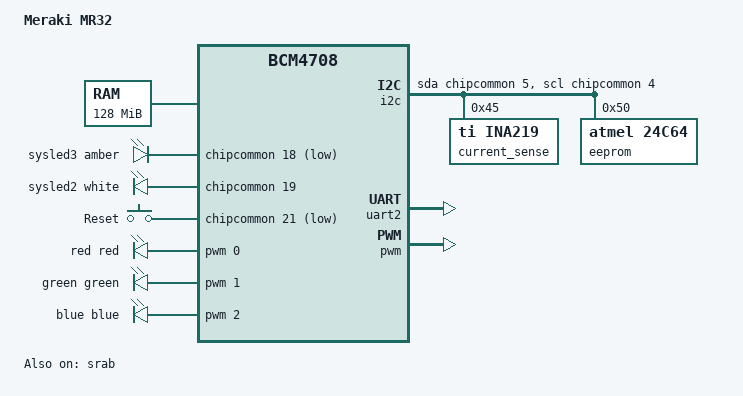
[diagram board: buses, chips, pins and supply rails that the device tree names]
// SPDX-License-Identifier: GPL-2.0-or-later OR MIT
/*
 * Broadcom BCM470X / BCM5301X ARM platform code.
 * DTS for Meraki MR32 / Codename: Espresso
 *
 * Copyright (C) 2018-2020 Christian Lamparter <chunkeey@gmail.com>
 */

/dts-v1/;

#include "bcm4708.dtsi"
#include "bcm5301x-nand-cs0-bch8.dtsi"
#include <dt-bindings/leds/common.h>

/ {
	compatible = "meraki,mr32", "brcm,brcm53016", "brcm,bcm4708";
	model = "Meraki MR32";

	chosen {
		bootargs = " console=ttyS0,115200n8 earlycon";
	};

	memory@0 {
		reg = <0x00000000 0x08000000>;
		device_type = "memory";
	};

	aliases {
		serial1 = &uart2;
	};

	leds {
		compatible = "gpio-leds";

		sysled3 {
			function = LED_FUNCTION_FAULT;
			color = <LED_COLOR_ID_AMBER>;
			gpios = <&chipcommon 18 GPIO_ACTIVE_LOW>;
			panic-indicator;
		};
		sysled2 {
			function = LED_FUNCTION_INDICATOR;
			color = <LED_COLOR_ID_WHITE>;
			gpios = <&chipcommon 19 GPIO_ACTIVE_HIGH>;
		};
	};

	keys {
		compatible = "gpio-keys";
		#address-cells = <1>;
		#size-cells = <0>;

		restart {
			label = "Reset";
			linux,code = <KEY_RESTART>;
			gpios = <&chipcommon 21 GPIO_ACTIVE_LOW>;
		};
	};

	pwm-leds {
		compatible = "pwm-leds";

		red {
			/* SYS-LED 1 - Tricolor */
			function = LED_FUNCTION_INDICATOR;
			color = <LED_COLOR_ID_RED>;
			pwms = <&pwm 0 50000 0>;
			max-brightness = <255>;
		};

		green {
			/* SYS-LED 1 - Tricolor */
			function = LED_FUNCTION_POWER;
			color = <LED_COLOR_ID_GREEN>;
			pwms = <&pwm 1 50000 0>;
			max-brightness = <255>;
		};

		blue {
			/* SYS-LED 1 - Tricolor */
			function = LED_FUNCTION_INDICATOR;
			color = <LED_COLOR_ID_BLUE>;
			pwms = <&pwm 2 50000 0>;
			max-brightness = <255>;
		};
	};

	i2c {
		/*
		 * The platform provided I2C does not budge.
		 * This is a replacement until I can figure
		 * out what are the missing bits...
		 */

		compatible = "i2c-gpio";
		sda-gpios = <&chipcommon 5 GPIO_ACTIVE_HIGH>;
		scl-gpios = <&chipcommon 4 GPIO_ACTIVE_HIGH>;
		i2c-gpio,delay-us = <10>; /* close to 100 kHz */
		#address-cells = <1>;
		#size-cells = <0>;

		current_sense: ina219@45 {
			compatible = "ti,ina219";
			reg = <0x45>;
			shunt-resistor = <60000>; /* = 60 mOhms */
		};

		eeprom: eeprom@50 {
			compatible = "atmel,24c64";
			reg = <0x50>;
			pagesize = <32>;
			read-only;
		};
	};
};

&uart0 {
	clock-frequency = <62500000>;
	/delete-property/ clocks;
};

&uart1 {
	status = "disabled";
};

&uart2 {
	status = "okay";
	/*
	 * bluetooth-le {
	 *	compatible = "brcm,bcm20732";
	 *	enable-gpios = <&chipcommon 20 GPIO_ACTIVE_HIGH>;
	 *};
	 */
};

&gmac1 {
	status = "disabled";
};
&gmac2 {
	status = "disabled";
};
&gmac3 {
	status = "disabled";
};

&pwm {
	status = "okay";
	pinctrl-names = "default";
	pinctrl-0 = <&pinmux_pwm>;
};

&nandcs {
	nand-ecc-algo = "hw";

	partitions {
		/*
		 * The partition autodetection does not work for this device.
		 * It will only detect the "nvram" partition with an incorrect size.
		 *	[    1.721667] 1 bcm47xxpart partitions found on MTD device brcmnand.0
		 *	[    1.727962] Creating 1 MTD partitions on "brcmnand.0":
		 *	[    1.733117] 0x000000400000-0x000008000000 : "nvram"
		 */

		compatible = "fixed-partitions";
		#address-cells = <0x1>;
		#size-cells = <0x1>;

		partition0@0 {
			label = "u-boot";
			reg = <0x0 0x100000>;
			read-only;
		};

		partition1@100000 {
			label = "bootkernel1";
			reg = <0x100000 0x300000>;
			read-only;
		};

		partition2@400000 {
			label = "nvram";
			reg = <0x400000 0x100000>;
			read-only;
		};

		partition3@500000 {
			label = "bootkernel2";
			reg = <0x500000 0x300000>;
			read-only;
		};

		partition4@800000 {
			label = "ubi";
			reg = <0x800000 0x7780000>;
		};
	};
};

&srab {
	status = "okay";

	ports {
		port@0 {
			reg = <0>;
			label = "poe";
		};

		port@5 {
			reg = <5>;
			label = "cpu";
			ethernet = <&gmac0>;

			fixed-link {
				speed = <1000>;
				full-duplex;
			};
		};
	};
};
